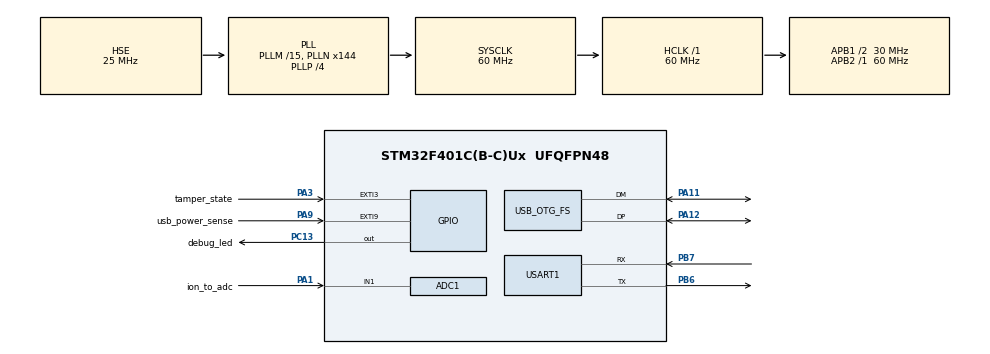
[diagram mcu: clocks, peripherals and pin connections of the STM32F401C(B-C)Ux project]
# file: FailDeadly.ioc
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ADC1.Channel-1\#ChannelRegularConversion=ADC_CHANNEL_1
ADC1.ClockPrescaler=ADC_CLOCK_SYNC_PCLK_DIV4
ADC1.NbrOfConversion=1
ADC1.NbrOfConversionFlag=1
ADC1.Rank-1\#ChannelRegularConversion=1
ADC1.SamplingTime-1\#ChannelRegularConversion=ADC_SAMPLETIME_3CYCLES
ADC1.ScanConvMode=ENABLE
ADC1.master=1
Dma.ADC1.1.Direction=DMA_PERIPH_TO_MEMORY
Dma.ADC1.1.FIFOMode=DMA_FIFOMODE_DISABLE
Dma.ADC1.1.Instance=DMA2_Stream0
Dma.ADC1.1.MemDataAlignment=DMA_MDATAALIGN_HALFWORD
Dma.ADC1.1.MemInc=DMA_MINC_DISABLE
Dma.ADC1.1.Mode=DMA_CIRCULAR
Dma.ADC1.1.PeriphDataAlignment=DMA_PDATAALIGN_HALFWORD
Dma.ADC1.1.PeriphInc=DMA_PINC_DISABLE
Dma.ADC1.1.Priority=DMA_PRIORITY_LOW
Dma.Request0=USART1_TX
Dma.Request1=ADC1
Dma.USART1_TX.0.Direction=DMA_MEMORY_TO_PERIPH
Dma.USART1_TX.0.FIFOMode=DMA_FIFOMODE_DISABLE
Dma.USART1_TX.0.Instance=DMA2_Stream7
Dma.USART1_TX.0.MemDataAlignment=DMA_MDATAALIGN_BYTE
Dma.USART1_TX.0.MemInc=DMA_MINC_ENABLE
Dma.USART1_TX.0.Mode=DMA_NORMAL
Dma.USART1_TX.0.PeriphDataAlignment=DMA_PDATAALIGN_BYTE
Dma.USART1_TX.0.PeriphInc=DMA_PINC_DISABLE
Dma.USART1_TX.0.Priority=DMA_PRIORITY_MEDIUM
Mcu.Family=STM32F4
Mcu.Name=STM32F401C(B-C)Ux
Mcu.Package=UFQFPN48
NVIC.DMA2_Stream0_IRQn=true\:0\:0\:false\:false\:true\:false\:true\:true
NVIC.DMA2_Stream7_IRQn=true\:0\:0\:false\:false\:true\:false\:true\:true
NVIC.EXTI3_IRQn=true\:0\:0\:false\:false\:true\:true\:true\:true
NVIC.EXTI9_5_IRQn=true\:0\:0\:false\:false\:true\:true\:true\:true
NVIC.OTG_FS_IRQn=true\:0\:0\:false\:false\:true\:false\:true\:true
NVIC.PriorityGroup=NVIC_PRIORITYGROUP_4
NVIC.TIM2_IRQn=true\:0\:0\:false\:false\:true\:true\:true\:true
NVIC.TIM3_IRQn=true\:15\:0\:false\:false\:true\:false\:true\:true
NVIC.TIM4_IRQn=true\:0\:0\:false\:false\:true\:true\:true\:true
NVIC.TimeBase=TIM3_IRQn
NVIC.TimeBaseIP=TIM3
NVIC.USART1_IRQn=true\:0\:0\:false\:false\:true\:true\:true\:true
PA1.GPIO_Label=ion_to_adc
PA1.Signal=ADCx_IN1
PA11.Mode=Device_Only
PA11.Signal=USB_OTG_FS_DM
PA12.Mode=Device_Only
PA12.Signal=USB_OTG_FS_DP
PA13.Mode=Serial_Wire
PA13.Signal=SYS_JTMS-SWDIO
PA14.Mode=Serial_Wire
PA14.Signal=SYS_JTCK-SWCLK
PA3.GPIO_Label=tamper_state
PA3.Signal=GPXTI3
PA9.GPIO_Label=usb_power_sense
PA9.GPIO_ModeDefaultEXTI=GPIO_MODE_IT_RISING_FALLING
PA9.Signal=GPXTI9
PB6.Mode=Asynchronous
PB6.Signal=USART1_TX
PB7.Mode=Asynchronous
PB7.Signal=USART1_RX
PC13-ANTI_TAMP.GPIO_Label=debug_led
PC13-ANTI_TAMP.Signal=GPIO_Output
PH0\ -\ OSC_IN.Mode=HSE-External-Oscillator
PH0\ -\ OSC_IN.Signal=RCC_OSC_IN
PH1\ -\ OSC_OUT.Mode=HSE-External-Oscillator
PH1\ -\ OSC_OUT.Signal=RCC_OSC_OUT
ProjectManager.HeapSize=0x200
ProjectManager.StackSize=0x400
ProjectManager.TargetToolchain=Makefile
RCC.48MHZClocksFreq_Value=48000000
RCC.AHBFreq_Value=60000000
RCC.APB1CLKDivider=RCC_HCLK_DIV2
RCC.APB1Freq_Value=30000000
RCC.APB1TimFreq_Value=60000000
RCC.APB2Freq_Value=60000000
RCC.APB2TimFreq_Value=60000000
RCC.CortexFreq_Value=60000000
RCC.HCLKFreq_Value=60000000
RCC.HSE_VALUE=25000000
RCC.HSI_VALUE=16000000
RCC.LSE_VALUE=32768
RCC.PLLM=15
RCC.PLLN=144
RCC.PLLP=RCC_PLLP_DIV4
RCC.PLLQ=5
RCC.SYSCLKFreq_VALUE=60000000
RCC.SYSCLKSource=RCC_SYSCLKSOURCE_PLLCLK
RCC.VCOOutputFreq_Value=240000000
SH.ADCx_IN1.0=ADC1_IN1,IN1
TIM2.Period=0xffffffff
TIM2.Prescaler=60000 - 1
TIM4.Period=1000
TIM4.Prescaler=60000 - 1
TIM4.TIM_MasterOutputTrigger=TIM_TRGO_UPDATE
USART1.VirtualMode=VM_ASYNC
USB_DEVICE.CLASS_NAME_FS=CDC
USB_DEVICE.USBD_MAX_NUM_INTERFACES=2
USB_DEVICE.USBD_SELF_POWERED=0
USB_DEVICE.VirtualMode=Cdc
USB_DEVICE.VirtualModeFS=Cdc_FS
USB_OTG_FS.VirtualMode=Device_Only
VP_ADC1_TempSens_Input.Mode=IN-TempSens
VP_CRC_VS_CRC.Mode=CRC_Activate
VP_SYS_VS_tim3.Mode=TIM3
VP_TIM2_VS_ClockSourceINT.Mode=Internal
VP_TIM4_VS_ClockSourceINT.Mode=Internal
VP_USB_DEVICE_VS_USB_DEVICE_CDC_FS.Mode=CDC_FS
board=custom

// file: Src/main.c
/* USER CODE BEGIN Header */
/**
  ******************************************************************************
  * @file           : main.c
  * @brief          : Main program body
  ******************************************************************************
  * @attention
  *
  * Copyright (c) 2026 STMicroelectronics.
  * All rights reserved.
  *
  * This software is licensed under terms that can be found in the LICENSE file
  * in the root directory of this software component.
  * If no LICENSE file comes with this software, it is provided AS-IS.
  *
  ******************************************************************************
  */
/* USER CODE END Header */
#include "main.h"
#include "adc.h"
#include "crc.h"
#include "dma.h"
#include "tim.h"
#include "usart.h"
#include "usb_device.h"
#include "gpio.h"

/* USER CODE BEGIN Includes */

#include "FreeRTOS.h"
#include "task.h"

#include "fd_tasks.h"
#include "fd_crypto.h"
#include "fd_log.h"
#include "stm32_assert.h"
#include "uptime.h"

/* USER CODE END Includes */

/* USER CODE BEGIN PV */

static const
unsigned char banner[] =
    "  ███████████            ███  ████  ██████████                          █████ ████            \r\n"
    " ▒▒███▒▒▒▒▒▒█           ▒▒▒  ▒▒███ ▒▒███▒▒▒▒███                        ▒▒███ ▒▒███            \r\n"
    "  ▒███   █ ▒   ██████   ████  ▒███  ▒███   ▒▒███  ██████   ██████    ███████  ▒███  █████ ████\r\n"
    "  ▒███████    ▒▒▒▒▒███ ▒▒███  ▒███  ▒███    ▒███ ███▒▒███ ▒▒▒▒▒███  ███▒▒███  ▒███ ▒▒███ ▒███ \r\n"
    "  ▒███▒▒▒█     ███████  ▒███  ▒███  ▒███    ▒███▒███████   ███████ ▒███ ▒███  ▒███  ▒███ ▒███ \r\n"
    "  ▒███  ▒     ███▒▒███  ▒███  ▒███  ▒███    ███ ▒███▒▒▒   ███▒▒███ ▒███ ▒███  ▒███  ▒███ ▒███ \r\n"
    "  █████      ▒▒████████ █████ █████ ██████████  ▒▒██████ ▒▒████████▒▒████████ █████ ▒▒███████ \r\n"
    " ▒▒▒▒▒        ▒▒▒▒▒▒▒▒ ▒▒▒▒▒ ▒▒▒▒▒ ▒▒▒▒▒▒▒▒▒▒    ▒▒▒▒▒▒   ▒▒▒▒▒▒▒▒  ▒▒▒▒▒▒▒▒ ▒▒▒▒▒   ▒▒▒▒▒███ \r\n"
    "                                                                                     ███ ▒███ \r\n"
    "                                                                                    ▒▒██████  \r\n"
    "                                                                                     ▒▒▒▒▒▒   \r\n"
    "\0";

static const
unsigned char gone4good_msg[] = "\r\nAt this point, crypto keys are gone for good.\r\n\0";

/* USER CODE END PV */

void SystemClock_Config(void);

/* USER CODE BEGIN 0 */

extern uint32_t __privileged_data_load_start__;
extern uint32_t __privileged_data_start__;
extern uint32_t __privileged_data_actual_end__;

static void InitPrivilegedData(void)
{
    const uint32_t *src = &__privileged_data_load_start__;
    uint32_t *dst = &__privileged_data_start__;
    const uint32_t *end = &__privileged_data_actual_end__;

    while (dst < end)
    {
        *dst++ = *src++;
    }
}

/* USER CODE END 0 */

int main(void)
{

  /* USER CODE BEGIN 1 */
    InitPrivilegedData();
  /* USER CODE END 1 */

  /* MCU Configuration--------------------------------------------------------*/

  /* Reset of all peripherals, Initializes the Flash interface and the Systick. */
  HAL_Init();

  /* Configure the system clock */
  SystemClock_Config();

  /* USER CODE BEGIN SysInit */

    // clocks initialized, now reset fd crypto storage
    FDCryptoClear();

  /* USER CODE END SysInit */

  /* Initialize all configured peripherals */
  MX_GPIO_Init();
  MX_DMA_Init();
  MX_ADC1_Init();
  MX_CRC_Init();
  MX_USART1_UART_Init();
  MX_USB_DEVICE_Init();
  MX_TIM2_Init();
  MX_TIM4_Init();
  /* USER CODE BEGIN 2 */

    assert_storage_reset();
    uptime_data_reset();
    FDSendLog(banner, strlen((const char *)banner), 0, 0);
    FDSendLog(gone4good_msg, strlen((const char *)gone4good_msg), 0, 0);

    FDTasksInit();
    vTaskStartScheduler();

    // should never reach this part, something bad happend with scheduler
    assert_param(0 == 1);

  /* USER CODE END 2 */

  /* Infinite loop */
  /* USER CODE BEGIN WHILE */
    NVIC_SystemReset();
    while (1)
    {
    /* USER CODE END WHILE */

    }
}

void SystemClock_Config(void)
{
  RCC_OscInitTypeDef RCC_OscInitStruct = {0};
  RCC_ClkInitTypeDef RCC_ClkInitStruct = {0};

  /** Configure the main internal regulator output voltage
  */
  __HAL_RCC_PWR_CLK_ENABLE();
  __HAL_PWR_VOLTAGESCALING_CONFIG(PWR_REGULATOR_VOLTAGE_SCALE2);

  /** Initializes the RCC Oscillators according to the specified parameters
  * in the RCC_OscInitTypeDef structure.
  */
  RCC_OscInitStruct.OscillatorType = RCC_OSCILLATORTYPE_HSE;
  RCC_OscInitStruct.HSEState = RCC_HSE_ON;
  RCC_OscInitStruct.PLL.PLLState = RCC_PLL_ON;
  RCC_OscInitStruct.PLL.PLLSource = RCC_PLLSOURCE_HSE;
  RCC_OscInitStruct.PLL.PLLM = 15;
  RCC_OscInitStruct.PLL.PLLN = 144;
  RCC_OscInitStruct.PLL.PLLP = RCC_PLLP_DIV4;
  RCC_OscInitStruct.PLL.PLLQ = 5;
  if (HAL_RCC_OscConfig(&RCC_OscInitStruct) != HAL_OK)
  {
    Error_Handler();
  }

  /** Initializes the CPU, AHB and APB buses clocks
  */
  RCC_ClkInitStruct.ClockType = RCC_CLOCKTYPE_HCLK|RCC_CLOCKTYPE_SYSCLK
                              |RCC_CLOCKTYPE_PCLK1|RCC_CLOCKTYPE_PCLK2;
  RCC_ClkInitStruct.SYSCLKSource = RCC_SYSCLKSOURCE_PLLCLK;
  RCC_ClkInitStruct.AHBCLKDivider = RCC_SYSCLK_DIV1;
  RCC_ClkInitStruct.APB1CLKDivider = RCC_HCLK_DIV2;
  RCC_ClkInitStruct.APB2CLKDivider = RCC_HCLK_DIV1;

  if (HAL_RCC_ClockConfig(&RCC_ClkInitStruct, FLASH_LATENCY_1) != HAL_OK)
  {
    Error_Handler();
  }
}

/* USER CODE BEGIN 4 */

void vApplicationGetIdleTaskMemory( StaticTask_t **ppxIdleTaskTCBBuffer,
                                      StackType_t **ppxIdleTaskStackBuffer,
                                      uint32_t *pulIdleTaskStackSize )
{
    static StaticTask_t xIdleTaskTCB;
    static StackType_t uxIdleTaskStack[ configMINIMAL_STACK_SIZE ];

    *ppxIdleTaskTCBBuffer = &xIdleTaskTCB;
    *ppxIdleTaskStackBuffer = uxIdleTaskStack;
    *pulIdleTaskStackSize = configMINIMAL_STACK_SIZE;
}

void vApplicationGetTimerTaskMemory( StaticTask_t **ppxTimerTaskTCBBuffer,
                                      StackType_t **ppxTimerTaskStackBuffer,
                                      uint32_t *pulTimerTaskStackSize )
{
    static StaticTask_t xTimerTaskTCB;
    static StackType_t uxTimerTaskStack[ configTIMER_TASK_STACK_DEPTH ];

    *ppxTimerTaskTCBBuffer = &xTimerTaskTCB;
    *ppxTimerTaskStackBuffer = uxTimerTaskStack;
    *pulTimerTaskStackSize = configTIMER_TASK_STACK_DEPTH;
}

/* USER CODE END 4 */

void HAL_TIM_PeriodElapsedCallback(TIM_HandleTypeDef *htim)
{
  if (htim->Instance == TIM3)
  {
    HAL_IncTick();
  }
  /* USER CODE BEGIN Callback 1 */
    if (htim->Instance == TIM4)
    {
        uptime_update_isr();
    }
  /* USER CODE END Callback 1 */
}

void Error_Handler(void)
{
  __disable_irq();
  while (1)
  {
  }
}
#ifdef USE_FULL_ASSERT
/**
  * @brief  Reports the name of the source file and the source line number
  *         where the assert_param error has occurred.
  * @param  file: pointer to the source file name
  * @param  line: assert_param error line source number
  * @retval None
  */
void assert_failed(uint8_t *file, uint32_t line)
{
  /* USER CODE BEGIN 6 */

    /* Can't get rid of it if I want to regen some code through stm32pio. */
    app_assert_failed(file, line);

  /* USER CODE END 6 */
}
#endif /* USE_FULL_ASSERT */
